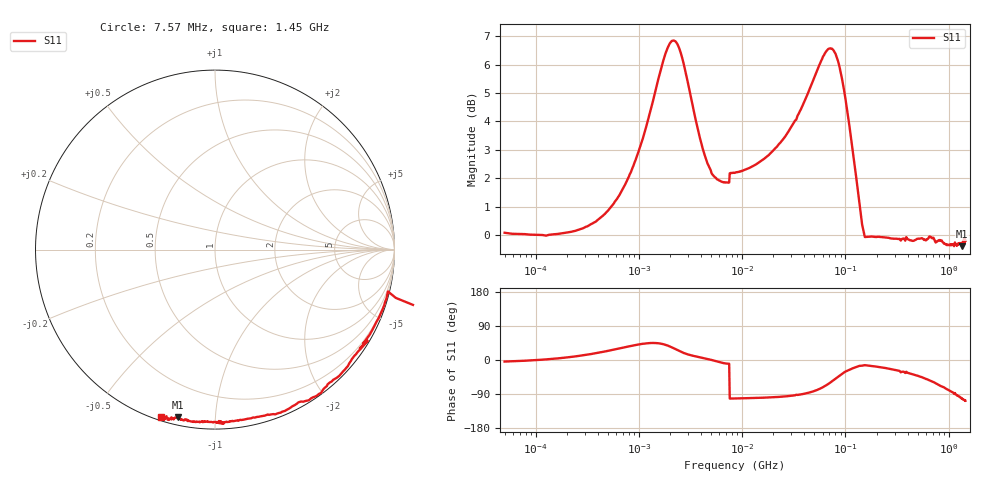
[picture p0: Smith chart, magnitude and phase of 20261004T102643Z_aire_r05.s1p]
! piloto_corto / aire / r05
# HZ S RI R 50
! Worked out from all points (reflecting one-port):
!   501 points, 50 kHz to 1.45 GHz, reference 50 ohm
!   lowest |S11| = -0.4 dB at 1.347 GHz (marker M1), VSWR 43.76, Z = 1.88 - j40.1 ohm
!   phase of S11 starts at -4 deg and turns -104 deg over the sweep
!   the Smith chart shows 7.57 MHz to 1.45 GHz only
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50000  1.006 -0.0727
183000  1.002 0.0983
363500  1.005 0.3051
658000  1.014 0.6085
1180000  1.121 1.079
1630000  1.428 1.338
1990000  1.766 1.271
2440000  1.952 0.8741
3430000  1.612 0.2976
4960000  1.3 0.016
7300000  1.219 -0.2112
7750000  -0.2603 -1.259
8560000  -0.2553 -1.262
1.81e7  -0.2136 -1.367
3.16e7  -0.1001 -1.572
4.78e7  0.2095 -1.845
6.67e7  0.898 -1.919
7.57e7  1.238 -1.72
8.83e7  1.495 -1.274
9.82e7  1.507 -0.9339
1e8  1.496 -0.8818
1.18e8  1.3 -0.519
1.36e8  1.103 -0.308
1.63e8  0.9607 -0.2471
4.06e8  0.81 -0.555
7.03e8  0.5265 -0.8365
1.3465e9  -0.2065 -0.9327
1.45e9  -0.3002 -0.9308
